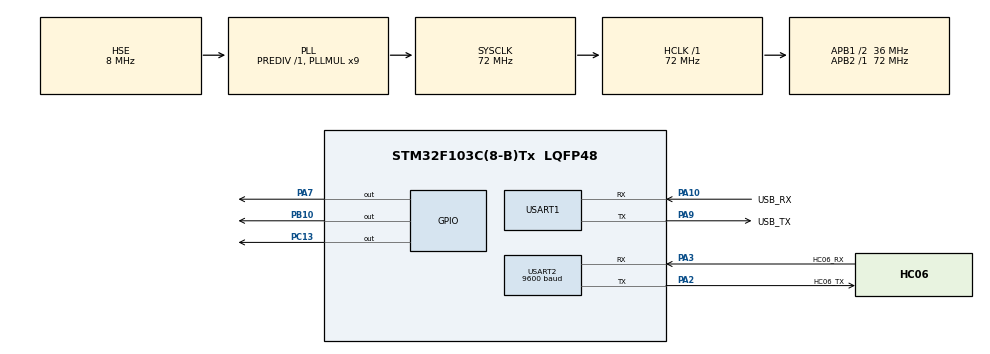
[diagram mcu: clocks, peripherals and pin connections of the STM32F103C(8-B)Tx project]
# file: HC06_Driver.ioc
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Dma.Request0=USART2_RX
Dma.USART2_RX.0.Direction=DMA_PERIPH_TO_MEMORY
Dma.USART2_RX.0.Instance=DMA1_Channel6
Dma.USART2_RX.0.MemDataAlignment=DMA_MDATAALIGN_BYTE
Dma.USART2_RX.0.MemInc=DMA_MINC_ENABLE
Dma.USART2_RX.0.Mode=DMA_NORMAL
Dma.USART2_RX.0.PeriphDataAlignment=DMA_PDATAALIGN_BYTE
Dma.USART2_RX.0.PeriphInc=DMA_PINC_DISABLE
Dma.USART2_RX.0.Priority=DMA_PRIORITY_LOW
Mcu.Family=STM32F1
Mcu.Name=STM32F103C(8-B)Tx
Mcu.Package=LQFP48
NVIC.DMA1_Channel6_IRQn=true\:0\:0\:false\:false\:true\:false\:true\:true
NVIC.PriorityGroup=NVIC_PRIORITYGROUP_4
PA10.GPIO_Label=USB_RX
PA10.Mode=Asynchronous
PA10.Signal=USART1_RX
PA13.Mode=Serial_Wire
PA13.Signal=SYS_JTMS-SWDIO
PA14.Mode=Serial_Wire
PA14.Signal=SYS_JTCK-SWCLK
PA2.GPIO_Label=HC06_TX
PA2.Mode=Asynchronous
PA2.Signal=USART2_TX
PA3.GPIO_Label=HC06_RX
PA3.Mode=Asynchronous
PA3.Signal=USART2_RX
PA7.Signal=GPIO_Output
PA9.GPIO_Label=USB_TX
PA9.Mode=Asynchronous
PA9.Signal=USART1_TX
PB10.Signal=GPIO_Output
PC13-TAMPER-RTC.Signal=GPIO_Output
PC14-OSC32_IN.Mode=LSE-External-Oscillator
PC14-OSC32_IN.Signal=RCC_OSC32_IN
PC15-OSC32_OUT.Mode=LSE-External-Oscillator
PC15-OSC32_OUT.Signal=RCC_OSC32_OUT
PD0-OSC_IN.Mode=HSE-External-Oscillator
PD0-OSC_IN.Signal=RCC_OSC_IN
PD1-OSC_OUT.Mode=HSE-External-Oscillator
PD1-OSC_OUT.Signal=RCC_OSC_OUT
ProjectManager.HeapSize=0x200
ProjectManager.StackSize=0x400
ProjectManager.TargetToolchain=Makefile
RCC.AHBFreq_Value=72000000
RCC.APB1CLKDivider=RCC_HCLK_DIV2
RCC.APB1Freq_Value=36000000
RCC.APB1TimFreq_Value=72000000
RCC.APB2Freq_Value=72000000
RCC.APB2TimFreq_Value=72000000
RCC.HCLKFreq_Value=72000000
RCC.PLLMUL=RCC_PLL_MUL9
RCC.PLLSourceVirtual=RCC_PLLSOURCE_HSE
RCC.SYSCLKFreq_VALUE=72000000
RCC.SYSCLKSource=RCC_SYSCLKSOURCE_PLLCLK
RCC.USBFreq_Value=72000000
USART1.VirtualMode=VM_ASYNC
USART2.BaudRate=9600
USART2.VirtualMode=VM_ASYNC
board=custom

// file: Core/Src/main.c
/* USER CODE BEGIN Header */
/**
  ******************************************************************************
  * @file           : main.c
  * @brief          : Main program body
  ******************************************************************************
  * @attention
  *
  * Copyright (c) 2024 STMicroelectronics.
  * All rights reserved.
  *
  * This software is licensed under terms that can be found in the LICENSE file
  * in the root directory of this software component.
  * If no LICENSE file comes with this software, it is provided AS-IS.
  *
  ******************************************************************************
  */
/* USER CODE END Header */
#include "main.h"

/* USER CODE BEGIN Includes */
#include <stdbool.h>
#include <string.h>
#include "hc06_driver.h"
#include "builder_hc06_driver.h"
/* USER CODE END Includes */

UART_HandleTypeDef huart1;
UART_HandleTypeDef huart2;
DMA_HandleTypeDef hdma_usart2_rx;

void SystemClock_Config(void);
static void MX_GPIO_Init(void);
static void MX_DMA_Init(void);
static void MX_USART2_UART_Init(void);
static void MX_USART1_UART_Init(void);

int main(void)
{

  /* MCU Configuration--------------------------------------------------------*/

  /* Reset of all peripherals, Initializes the Flash interface and the Systick. */
  HAL_Init();

  /* Configure the system clock */
  SystemClock_Config();

  /* Initialize all configured peripherals */
  MX_GPIO_Init();
  MX_DMA_Init();
  MX_USART2_UART_Init();
  MX_USART1_UART_Init();

  /* Infinite loop */
  /* USER CODE BEGIN WHILE */

  builder_hc06_driver_build(&huart2);

  hc06_set_baudrate(HC06_115200);
  hc06_status status = hc06_check_link();
  if (status)
    Error_Handler();

  static uint8_t data[8U];
  static char *string = "Hello from stm32!";

  hc06_read(data, 1U);
  while (true)
  {
    if (hc06_is_data_received())
    {
      status = hc06_write((uint8_t*)string, strlen(string) + 1U);
      HAL_UART_Transmit(&huart1, (uint8_t*)data, 1U, 100U);

      hc06_read(data, 1U);
    }
    HAL_Delay(100U);
  }

  hc06_destroy();

  while (1)
  {
    /* USER CODE END WHILE */

  }
}

void SystemClock_Config(void)
{
  RCC_OscInitTypeDef RCC_OscInitStruct = {0};
  RCC_ClkInitTypeDef RCC_ClkInitStruct = {0};

  /** Initializes the RCC Oscillators according to the specified parameters
  * in the RCC_OscInitTypeDef structure.
  */
  RCC_OscInitStruct.OscillatorType = RCC_OSCILLATORTYPE_HSE;
  RCC_OscInitStruct.HSEState = RCC_HSE_ON;
  RCC_OscInitStruct.HSEPredivValue = RCC_HSE_PREDIV_DIV1;
  RCC_OscInitStruct.HSIState = RCC_HSI_ON;
  RCC_OscInitStruct.PLL.PLLState = RCC_PLL_ON;
  RCC_OscInitStruct.PLL.PLLSource = RCC_PLLSOURCE_HSE;
  RCC_OscInitStruct.PLL.PLLMUL = RCC_PLL_MUL9;
  if (HAL_RCC_OscConfig(&RCC_OscInitStruct) != HAL_OK)
  {
    Error_Handler();
  }

  /** Initializes the CPU, AHB and APB buses clocks
  */
  RCC_ClkInitStruct.ClockType = RCC_CLOCKTYPE_HCLK|RCC_CLOCKTYPE_SYSCLK
                              |RCC_CLOCKTYPE_PCLK1|RCC_CLOCKTYPE_PCLK2;
  RCC_ClkInitStruct.SYSCLKSource = RCC_SYSCLKSOURCE_PLLCLK;
  RCC_ClkInitStruct.AHBCLKDivider = RCC_SYSCLK_DIV1;
  RCC_ClkInitStruct.APB1CLKDivider = RCC_HCLK_DIV2;
  RCC_ClkInitStruct.APB2CLKDivider = RCC_HCLK_DIV1;

  if (HAL_RCC_ClockConfig(&RCC_ClkInitStruct, FLASH_LATENCY_2) != HAL_OK)
  {
    Error_Handler();
  }
}

static void MX_USART1_UART_Init(void)
{

  huart1.Instance = USART1;
  huart1.Init.BaudRate = 115200;
  huart1.Init.WordLength = UART_WORDLENGTH_8B;
  huart1.Init.StopBits = UART_STOPBITS_1;
  huart1.Init.Parity = UART_PARITY_NONE;
  huart1.Init.Mode = UART_MODE_TX_RX;
  huart1.Init.HwFlowCtl = UART_HWCONTROL_NONE;
  huart1.Init.OverSampling = UART_OVERSAMPLING_16;
  if (HAL_UART_Init(&huart1) != HAL_OK)
  {
    Error_Handler();
  }

}

static void MX_USART2_UART_Init(void)
{

  huart2.Instance = USART2;
  huart2.Init.BaudRate = 9600;
  huart2.Init.WordLength = UART_WORDLENGTH_8B;
  huart2.Init.StopBits = UART_STOPBITS_1;
  huart2.Init.Parity = UART_PARITY_NONE;
  huart2.Init.Mode = UART_MODE_TX_RX;
  huart2.Init.HwFlowCtl = UART_HWCONTROL_NONE;
  huart2.Init.OverSampling = UART_OVERSAMPLING_16;
  if (HAL_UART_Init(&huart2) != HAL_OK)
  {
    Error_Handler();
  }

}

static void MX_DMA_Init(void)
{

  /* DMA controller clock enable */
  __HAL_RCC_DMA1_CLK_ENABLE();

  /* DMA interrupt init */
  /* DMA1_Channel6_IRQn interrupt configuration */
  HAL_NVIC_SetPriority(DMA1_Channel6_IRQn, 0, 0);
  HAL_NVIC_EnableIRQ(DMA1_Channel6_IRQn);

}

static void MX_GPIO_Init(void)
{
  GPIO_InitTypeDef GPIO_InitStruct = {0};

  /* GPIO Ports Clock Enable */
  __HAL_RCC_GPIOC_CLK_ENABLE();
  __HAL_RCC_GPIOD_CLK_ENABLE();
  __HAL_RCC_GPIOA_CLK_ENABLE();
  __HAL_RCC_GPIOB_CLK_ENABLE();

  /*Configure GPIO pin Output Level */
  HAL_GPIO_WritePin(GPIOC, GPIO_PIN_13, GPIO_PIN_RESET);

  /*Configure GPIO pin Output Level */
  HAL_GPIO_WritePin(GPIOA, GPIO_PIN_7, GPIO_PIN_RESET);

  /*Configure GPIO pin Output Level */
  HAL_GPIO_WritePin(GPIOB, GPIO_PIN_10, GPIO_PIN_RESET);

  /*Configure GPIO pin : PC13 */
  GPIO_InitStruct.Pin = GPIO_PIN_13;
  GPIO_InitStruct.Mode = GPIO_MODE_OUTPUT_PP;
  GPIO_InitStruct.Pull = GPIO_NOPULL;
  GPIO_InitStruct.Speed = GPIO_SPEED_FREQ_LOW;
  HAL_GPIO_Init(GPIOC, &GPIO_InitStruct);

  /*Configure GPIO pin : PA7 */
  GPIO_InitStruct.Pin = GPIO_PIN_7;
  GPIO_InitStruct.Mode = GPIO_MODE_OUTPUT_PP;
  GPIO_InitStruct.Pull = GPIO_NOPULL;
  GPIO_InitStruct.Speed = GPIO_SPEED_FREQ_LOW;
  HAL_GPIO_Init(GPIOA, &GPIO_InitStruct);

  /*Configure GPIO pin : PB10 */
  GPIO_InitStruct.Pin = GPIO_PIN_10;
  GPIO_InitStruct.Mode = GPIO_MODE_OUTPUT_PP;
  GPIO_InitStruct.Pull = GPIO_NOPULL;
  GPIO_InitStruct.Speed = GPIO_SPEED_FREQ_LOW;
  HAL_GPIO_Init(GPIOB, &GPIO_InitStruct);

}

void Error_Handler(void)
{
  __disable_irq();
  while (1)
  {
  }
}
